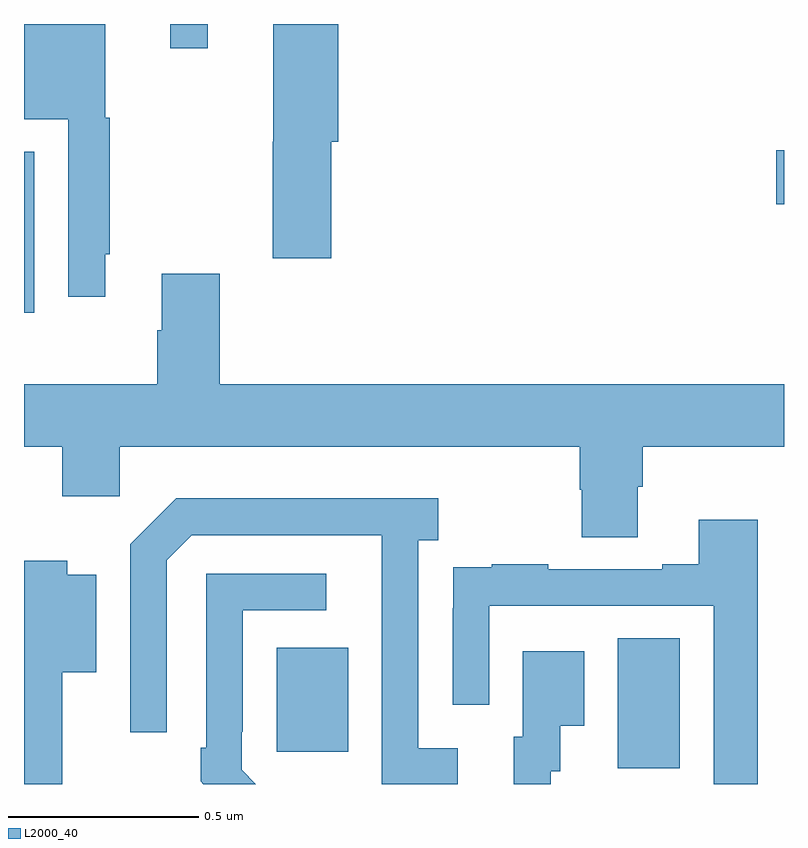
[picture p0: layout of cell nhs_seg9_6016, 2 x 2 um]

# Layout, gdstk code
import gdstk
lib = gdstk.Library(unit=1e-6, precision=1e-09)
def R(c, l, rs):  # rectangles x0, y0, x1, y1
    for r in rs: c.add(gdstk.rectangle(r[:2], r[2:], *l))
def P(c, l, *ps):  # polygons
    for p in ps: c.add(gdstk.Polygon(p, *l))
L2000_40 = (2000, 40)

nhs_seg9_6016 = lib.new_cell('nhs_seg9_6016')
R(nhs_seg9_6016, L2000_40, [(187.562,1227.541,187.726,1227.884), (186.665,1227.585,186.853,1227.859), (186,1228.74,186.027,1229.164), (187.98,1229.026,188,1229.168), (186.385,1229.436,186.484,1229.5)])
P(nhs_seg9_6016, L2000_40, [(186.809,1229.19),(186.827,1229.19),(186.827,1229.5),(186.656,1229.5),(186.656,1229.19),(186.655,1229.19),(186.655,1228.884),(186.809,1228.884)],
  [(186.214,1228.894),(186.226,1228.894),(186.226,1229.253),(186.214,1229.253),(186.214,1229.5),(186,1229.5),(186,1229.249),(186.117,1229.249),(186.117,1228.782),(186.214,1228.782)],
  [(186,1228.388),(186.101,1228.388),(186.101,1228.257),(186.252,1228.257),(186.252,1228.388),(187.463,1228.388),(187.463,1228.275),(187.468,1228.275),(187.468,1228.15),(187.615,1228.15),(187.615,1228.282),(187.628,1228.282),(187.628,1228.388),(188,1228.388),(188,1228.552),(186.515,1228.552),(186.515,1228.843),(186.362,1228.843),(186.362,1228.694),(186.35,1228.694),(186.35,1228.552),(186,1228.552)],
  [(187.141,1227.594),(187.038,1227.594),(187.038,1228.142),(187.09,1228.142),(187.09,1228.252),(186.4,1228.252),(186.279,1228.131),(186.279,1227.636),(186.375,1227.636),(186.375,1228.089),(186.441,1228.155),(186.941,1228.155),(186.941,1227.955),(186.942,1227.955),(186.942,1227.5),(187.141,1227.5)],
  [(187.931,1228.195),(187.775,1228.195),(187.775,1228.078),(187.679,1228.078),(187.679,1228.065),(187.379,1228.065),(187.379,1228.078),(187.231,1228.078),(187.231,1228.071),(187.129,1228.071),(187.129,1227.962),(187.128,1227.962),(187.128,1227.708),(187.224,1227.708),(187.224,1227.969),(187.815,1227.969),(187.815,1227.5),(187.931,1227.5)],
  [(186.101,1227.794),(186.19,1227.794),(186.19,1228.051),(186.114,1228.051),(186.114,1228.087),(186,1228.087),(186,1227.5),(186.101,1227.5)],
  [(186.573,1227.537),(186.573,1227.637),(186.576,1227.637),(186.576,1227.957),(186.796,1227.957),(186.796,1228.053),(186.48,1228.053),(186.48,1227.595),(186.465,1227.595),(186.465,1227.507),(186.472,1227.5),(186.61,1227.5)],
  [(187.386,1227.534),(187.411,1227.534),(187.411,1227.653),(187.474,1227.653),(187.474,1227.85),(187.313,1227.85),(187.313,1227.624),(187.289,1227.624),(187.289,1227.5),(187.386,1227.5)])

lib.write_gds('nhs_seg9_6016.gds')
